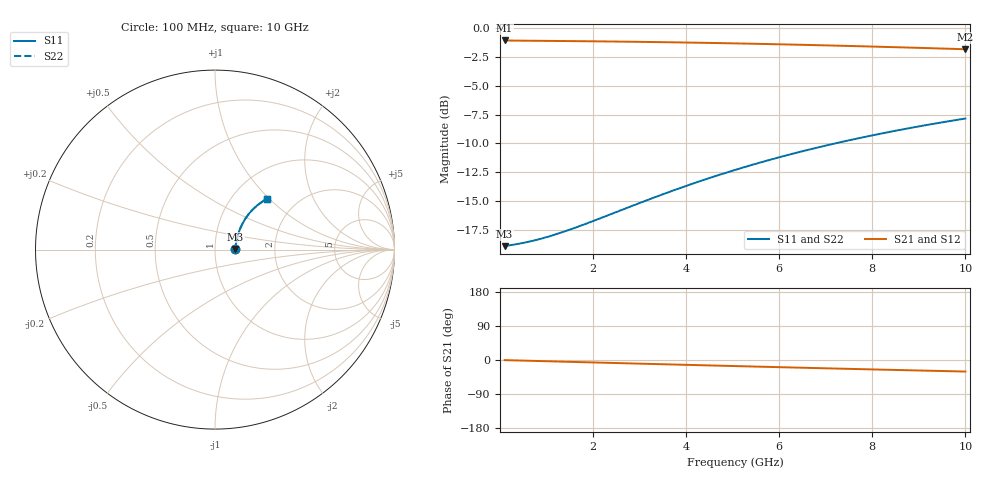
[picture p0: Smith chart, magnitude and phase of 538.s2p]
# Hz S RI R 50.00
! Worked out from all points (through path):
!   100 points, 100 MHz to 10 GHz, reference 50 ohm
!   highest |S21| = -1.04 dB at 100 MHz (marker M1); lowest = -1.8 dB at 10 GHz (marker M2)
!   group delay of S21, straight-line fit = 8.49 ps
!   lowest |S11| = -18.9 dB at 100 MHz (marker M3), VSWR 1.25, Z = 62.7 + j0.475 ohm
!   |S11| at or under -10 dB: start of sweep to 7.2 GHz
!   |S22| runs from -18.9 to -7.8 dB; largest |S21 - S12| = 0
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1e8  0.113 0.00373  0.887 -0.00501  0.887 -0.00501  0.113 0.00373
5e8  0.1153 0.0186  0.8847 -0.0249  0.8847 -0.0249  0.1153 0.0186
7e8  0.1164 0.0259  0.8836 -0.0349  0.8836 -0.0349  0.1164 0.0259
9e8  0.1175 0.0333  0.8825 -0.0448  0.8825 -0.0448  0.1175 0.0333
1.1e9  0.1187 0.0406  0.8812 -0.0546  0.8812 -0.0546  0.1187 0.0406
1.3e9  0.12 0.0479  0.8798 -0.0645  0.8798 -0.0645  0.12 0.0479
1.8e9  0.1239 0.0659  0.8758 -0.0889  0.8758 -0.0889  0.1239 0.0659
2.6e9  0.1319 0.0941  0.8675 -0.1273  0.8675 -0.1273  0.1319 0.0941
3.4e9  0.1421 0.1212  0.8569 -0.1647  0.8569 -0.1647  0.1421 0.1212
3.9e9  0.1496 0.1376  0.849 -0.1874  0.849 -0.1874  0.1496 0.1376
4.3e9  0.1562 0.1503  0.8422 -0.2053  0.8422 -0.2053  0.1562 0.1503
4.7e9  0.1633 0.1626  0.8348 -0.2227  0.8348 -0.2227  0.1633 0.1626
5.1e9  0.1708 0.1745  0.8269 -0.2398  0.8269 -0.2398  0.1708 0.1745
5.5e9  0.1788 0.186  0.8185 -0.2564  0.8185 -0.2564  0.1788 0.186
5.9e9  0.1872 0.1971  0.8097 -0.2727  0.8097 -0.2727  0.1872 0.1971
6.3e9  0.196 0.2077  0.8005 -0.2885  0.8005 -0.2885  0.196 0.2077
6.7e9  0.2052 0.2179  0.7909 -0.3038  0.7909 -0.3038  0.2052 0.2179
7.5e9  0.2245 0.2368  0.7706 -0.333  0.7706 -0.333  0.2245 0.2368
7.9e9  0.2346 0.2455  0.7599 -0.3469  0.7599 -0.3469  0.2346 0.2455
8.4e9  0.2475 0.2557  0.7463 -0.3636  0.7463 -0.3636  0.2475 0.2557
9.2e9  0.2689 0.2704  0.7237 -0.3887  0.7237 -0.3887  0.2689 0.2704
1e10  0.2909 0.2831  0.7003 -0.4119  0.7003 -0.4119  0.2909 0.2831
